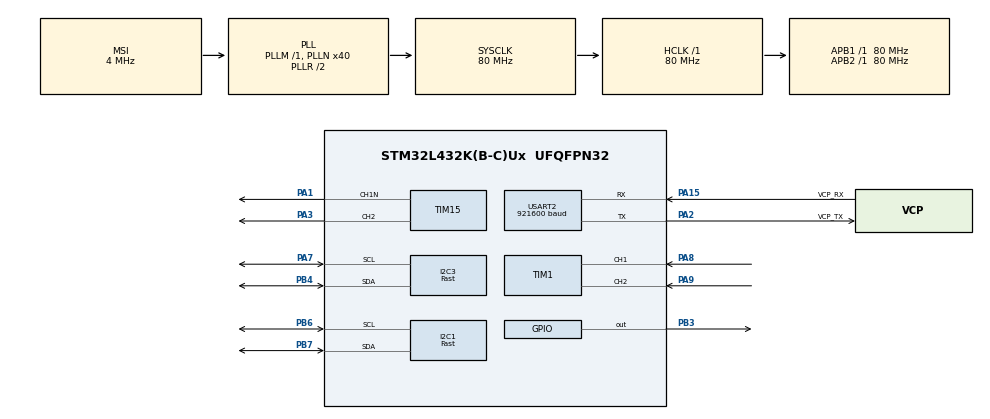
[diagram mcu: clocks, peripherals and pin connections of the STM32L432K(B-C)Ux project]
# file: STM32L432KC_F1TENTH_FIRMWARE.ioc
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Dma.I2C1_RX.2.Direction=DMA_PERIPH_TO_MEMORY
Dma.I2C1_RX.2.Instance=DMA2_Channel6
Dma.I2C1_RX.2.MemDataAlignment=DMA_MDATAALIGN_BYTE
Dma.I2C1_RX.2.MemInc=DMA_MINC_ENABLE
Dma.I2C1_RX.2.Mode=DMA_NORMAL
Dma.I2C1_RX.2.PeriphDataAlignment=DMA_PDATAALIGN_BYTE
Dma.I2C1_RX.2.PeriphInc=DMA_PINC_DISABLE
Dma.I2C1_RX.2.Priority=DMA_PRIORITY_LOW
Dma.I2C1_TX.3.Direction=DMA_MEMORY_TO_PERIPH
Dma.I2C1_TX.3.Instance=DMA2_Channel7
Dma.I2C1_TX.3.MemDataAlignment=DMA_MDATAALIGN_BYTE
Dma.I2C1_TX.3.MemInc=DMA_MINC_ENABLE
Dma.I2C1_TX.3.Mode=DMA_NORMAL
Dma.I2C1_TX.3.PeriphDataAlignment=DMA_PDATAALIGN_BYTE
Dma.I2C1_TX.3.PeriphInc=DMA_PINC_DISABLE
Dma.I2C1_TX.3.Priority=DMA_PRIORITY_LOW
Dma.I2C3_RX.4.Direction=DMA_PERIPH_TO_MEMORY
Dma.I2C3_RX.4.Instance=DMA1_Channel3
Dma.I2C3_RX.4.MemDataAlignment=DMA_MDATAALIGN_BYTE
Dma.I2C3_RX.4.MemInc=DMA_MINC_ENABLE
Dma.I2C3_RX.4.Mode=DMA_NORMAL
Dma.I2C3_RX.4.PeriphDataAlignment=DMA_PDATAALIGN_BYTE
Dma.I2C3_RX.4.PeriphInc=DMA_PINC_DISABLE
Dma.I2C3_RX.4.Priority=DMA_PRIORITY_LOW
Dma.I2C3_TX.5.Direction=DMA_MEMORY_TO_PERIPH
Dma.I2C3_TX.5.Instance=DMA1_Channel2
Dma.I2C3_TX.5.MemDataAlignment=DMA_MDATAALIGN_BYTE
Dma.I2C3_TX.5.MemInc=DMA_MINC_ENABLE
Dma.I2C3_TX.5.Mode=DMA_NORMAL
Dma.I2C3_TX.5.PeriphDataAlignment=DMA_PDATAALIGN_BYTE
Dma.I2C3_TX.5.PeriphInc=DMA_PINC_DISABLE
Dma.I2C3_TX.5.Priority=DMA_PRIORITY_LOW
Dma.Request0=USART2_RX
Dma.Request1=USART2_TX
Dma.Request2=I2C1_RX
Dma.Request3=I2C1_TX
Dma.Request4=I2C3_RX
Dma.Request5=I2C3_TX
Dma.USART2_RX.0.Direction=DMA_PERIPH_TO_MEMORY
Dma.USART2_RX.0.Instance=DMA1_Channel6
Dma.USART2_RX.0.MemDataAlignment=DMA_MDATAALIGN_BYTE
Dma.USART2_RX.0.MemInc=DMA_MINC_ENABLE
Dma.USART2_RX.0.Mode=DMA_CIRCULAR
Dma.USART2_RX.0.PeriphDataAlignment=DMA_PDATAALIGN_BYTE
Dma.USART2_RX.0.PeriphInc=DMA_PINC_DISABLE
Dma.USART2_RX.0.Priority=DMA_PRIORITY_VERY_HIGH
Dma.USART2_TX.1.Direction=DMA_MEMORY_TO_PERIPH
Dma.USART2_TX.1.Instance=DMA1_Channel7
Dma.USART2_TX.1.MemDataAlignment=DMA_MDATAALIGN_BYTE
Dma.USART2_TX.1.MemInc=DMA_MINC_ENABLE
Dma.USART2_TX.1.Mode=DMA_NORMAL
Dma.USART2_TX.1.PeriphDataAlignment=DMA_PDATAALIGN_BYTE
Dma.USART2_TX.1.PeriphInc=DMA_PINC_DISABLE
Dma.USART2_TX.1.Priority=DMA_PRIORITY_VERY_HIGH
FREERTOS.Tasks01=defaultTask,24,4096,StartDefaultTask,As weak,NULL,Static,defaultTaskBuffer,defaultTaskControlBlock
FREERTOS.configENABLE_FPU=1
FREERTOS.configUSE_NEWLIB_REENTRANT=1
I2C1.I2C_Speed_Mode=I2C_Fast
I2C1.Timing=0x00702991
I2C3.I2C_Speed_Mode=I2C_Fast
I2C3.Timing=0x00702991
Mcu.Family=STM32L4
Mcu.Name=STM32L432K(B-C)Ux
Mcu.Package=UFQFPN32
NVIC.DMA1_Channel2_IRQn=true\:5\:0\:false\:false\:true\:true\:false\:true\:true
NVIC.DMA1_Channel3_IRQn=true\:5\:0\:false\:false\:true\:true\:false\:true\:true
NVIC.DMA1_Channel6_IRQn=true\:5\:0\:false\:false\:true\:true\:false\:true\:true
NVIC.DMA1_Channel7_IRQn=true\:5\:0\:false\:false\:true\:true\:false\:true\:true
NVIC.DMA2_Channel6_IRQn=true\:5\:0\:false\:false\:true\:true\:false\:true\:true
NVIC.DMA2_Channel7_IRQn=true\:5\:0\:false\:false\:true\:true\:false\:true\:true
NVIC.I2C1_EV_IRQn=true\:5\:0\:false\:false\:true\:true\:true\:true\:true
NVIC.I2C3_EV_IRQn=true\:5\:0\:false\:false\:true\:true\:true\:true\:true
NVIC.PriorityGroup=NVIC_PRIORITYGROUP_4
NVIC.TIM6_DAC_IRQn=true\:15\:0\:false\:false\:true\:false\:false\:true\:true
NVIC.TimeBase=TIM6_DAC_IRQn
NVIC.TimeBaseIP=TIM6
NVIC.USART2_IRQn=true\:5\:0\:false\:false\:true\:true\:true\:true\:true
PA0.GPIO_Label=MCO [High speed clock in]
PA0.Mode=HSE-External-Clock-Source-for-LittleOrca
PA0.Signal=RCC_CK_IN
PA1.Mode=PWM Generation1 CH1N
PA1.Signal=TIM15_CH1N
PA13\ (JTMS-SWDIO).GPIO_Label=SWDIO
PA13\ (JTMS-SWDIO).Mode=Serial_Wire
PA13\ (JTMS-SWDIO).Signal=SYS_JTMS-SWDIO
PA14\ (JTCK-SWCLK).GPIO_Label=SWCLK
PA14\ (JTCK-SWCLK).Mode=Serial_Wire
PA14\ (JTCK-SWCLK).Signal=SYS_JTCK-SWCLK
PA15\ (JTDI).GPIO_Label=VCP_RX
PA15\ (JTDI).Mode=Asynchronous
PA15\ (JTDI).Signal=USART2_RX
PA2.GPIO_Label=VCP_TX
PA2.Mode=Asynchronous
PA2.Signal=USART2_TX
PA3.Signal=S_TIM15_CH2
PA7.Mode=I2C
PA7.Signal=I2C3_SCL
PA8.GPIO_Speed=GPIO_SPEED_FREQ_HIGH
PA8.Signal=S_TIM1_CH1
PA9.GPIO_Speed=GPIO_SPEED_FREQ_HIGH
PA9.Signal=S_TIM1_CH2
PB3\ (JTDO-TRACESWO).Signal=GPIO_Output
PB4\ (NJTRST).Mode=I2C
PB4\ (NJTRST).Signal=I2C3_SDA
PB6.GPIO_Pu=GPIO_PULLUP
PB6.Mode=I2C
PB6.Signal=I2C1_SCL
PB7.GPIO_Pu=GPIO_PULLUP
PB7.Mode=I2C
PB7.Signal=I2C1_SDA
PC14-OSC32_IN\ (PC14).Mode=LSE-External-Oscillator
PC14-OSC32_IN\ (PC14).Signal=RCC_OSC32_IN
PC15-OSC32_OUT\ (PC15).Mode=LSE-External-Oscillator
PC15-OSC32_OUT\ (PC15).Signal=RCC_OSC32_OUT
ProjectManager.HeapSize=0x200
ProjectManager.StackSize=0x400
ProjectManager.TargetToolchain=STM32CubeIDE
RCC.AHBFreq_Value=80000000
RCC.APB1Freq_Value=80000000
RCC.APB1TimFreq_Value=80000000
RCC.APB2Freq_Value=80000000
RCC.APB2TimFreq_Value=80000000
RCC.CortexFreq_Value=80000000
RCC.HCLKFreq_Value=80000000
RCC.HSE_VALUE=8000000
RCC.HSI16_VALUE=16000000
RCC.HSI48_VALUE=48000000
RCC.HSI_VALUE=16000000
RCC.MSI_VALUE=4000000
RCC.PLLMUL=RCC_PLLMUL_4
RCC.PLLN=40
RCC.SYSCLKFreq_VALUE=80000000
RCC.SYSCLKSource=RCC_SYSCLKSOURCE_PLLCLK
RCC.VCOOutputFreq_Value=160000000
SH.S_TIM15_CH2.0=TIM15_CH2,PWM Generation2 CH2
SH.S_TIM1_CH1.0=TIM1_CH1,Encoder_Interface
SH.S_TIM1_CH2.0=TIM1_CH2,Encoder_Interface
TIM1.EncoderMode=TIM_ENCODERMODE_TI12
TIM15.Channel-PWM\ Generation1\ CH1N=TIM_CHANNEL_1
TIM15.Channel-PWM\ Generation2\ CH2=TIM_CHANNEL_2
USART2.BaudRate=921600
USART2.VirtualMode-Asynchronous=VM_ASYNC
VP_FREERTOS_VS_CMSIS_V2.Mode=CMSIS_V2
VP_SYS_VS_tim6.Mode=TIM6
board=NUCLEO-L432KC

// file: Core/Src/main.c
/* USER CODE BEGIN Header */
/**
 ******************************************************************************
 * @file           : main.c
 * @brief          : Main program body
 ******************************************************************************
 * @attention
 *
 * Copyright (c) 2024 STMicroelectronics.
 * All rights reserved.
 *
 * This software is licensed under terms that can be found in the LICENSE file
 * in the root directory of this software component.
 * If no LICENSE file comes with this software, it is provided AS-IS.
 *
 ******************************************************************************
 */
/* USER CODE END Header */
#include "main.h"
#include "cmsis_os.h"
#include "dma.h"
#include "i2c.h"
#include "tim.h"
#include "usart.h"
#include "gpio.h"

/* USER CODE BEGIN Includes */
#include "AS5600.h"
#include "BNO055.h"
#include "RC.h"
#include "Mobile_Config.h"
#include "stdbool.h"
#include "math.h"
#include "PAA5160E1.h"
/* USER CODE END Includes */

/* USER CODE BEGIN PTD */
typedef enum {
	forward,
	backward_1,
	backward_2,
	brake
} direction_state;

typedef struct {
	int16_t prev_counter;
	double gain;
	double unwrap_pos;
	double pos;
}encoder_counter;
/* USER CODE END PTD */

/* USER CODE BEGIN PD */
#define SENSOR_ON
/* USER CODE END PD */

/* USER CODE BEGIN PM */
#define HALCHECK(fn) while(fn != HAL_OK) HAL_Delay(100);
#define RCCHECK(fn) { rcl_ret_t temp_rc = fn; if((temp_rc != RCL_RET_OK)){Error_Handler()}}
#define RCSOFTCHECK(fn) { rcl_ret_t temp_rc = fn; if((temp_rc != RCL_RET_OK)){}}
#define KP 0.1
#define KI 0.02
#define KD 0
/* USER CODE END PM */

/* USER CODE BEGIN PV */
float servo_cmd = 0;
float bldc_cmd = 0;
direction_state state = brake;
encoder_counter enc = {
		.prev_counter = 0.0,
		.gain = M_PI_2,
		.unwrap_pos = 0.0,
		.pos = 0.0
};
/* USER CODE END PV */

void SystemClock_Config(void);
void MX_FREERTOS_Init(void);
/* USER CODE BEGIN PFP */
bool cubemx_transport_open(struct uxrCustomTransport * transport);
bool cubemx_transport_close(struct uxrCustomTransport * transport);
size_t cubemx_transport_write(struct uxrCustomTransport* transport, const uint8_t * buf, size_t len, uint8_t * err);
size_t cubemx_transport_read(struct uxrCustomTransport* transport, uint8_t* buf, size_t len, int timeout, uint8_t* err);

void * microros_allocate(size_t size, void * state);
void microros_deallocate(void * pointer, void * state);
void * microros_reallocate(void * pointer, size_t size, void * state);
void * microros_zero_allocate(size_t number_of_elements, size_t size_of_element, void * state);

void enc_timer_callback(rcl_timer_t * timer, int64_t last_call_time);
void imu_timer_callback(rcl_timer_t * timer, int64_t last_call_time);
void opticalOdom_timer_callback(rcl_timer_t * timer, int64_t last_call_time);
void subscription_callback(const void * msgin);

float ang2rc(float ang);
/* USER CODE END PFP */

/* USER CODE BEGIN 0 */
void enc_timer_callback(rcl_timer_t * timer, int64_t last_call_time)
{
	static bool isfirst_callback = true;
	RCLC_UNUSED(last_call_time);
	if (timer != NULL)
	{

#ifdef SENSOR_ON

		int16_t counter = __HAL_TIM_GET_COUNTER(&htim1);
		int32_t delta_counter = counter - enc.prev_counter;
		enc.prev_counter = counter;

		if (delta_counter < -32768) enc.pos += (65535.0 * enc.gain);
		else if (delta_counter > 32768) enc.pos -= (65535.0 * enc.gain);

		float speed = ((counter * enc.gain) + enc.pos - enc.unwrap_pos) * 50.0;
		enc.unwrap_pos = (counter * enc.gain) + enc.pos;

		float error = bldc_cmd - speed;
		float u = 0;

		switch (state)
		{
		case forward:
			if (bldc_cmd > 0) u = PID_CONTROLLER_Compute(&pid, error);
			else {
				u = 0;
				state = brake;
			}
			HAL_GPIO_WritePin(GPIOB, GPIO_PIN_3, 0);
			break;
		case brake:
			pid.ek_1=0;
			pid.ek_2=0;
			pid.u=0;
			u = PID_CONTROLLER_Compute(&pid, error);
			if (bldc_cmd > 0) state = forward;
			else if (bldc_cmd < 0) {
				state = backward_1;
				u = -500;
			}
			break;
		case backward_1:
			pid.ek_1=0;
			pid.ek_2=0;
			pid.u=0;
			u = 0;
			if (bldc_cmd < 0) state = backward_2;
			else state = brake;
			HAL_GPIO_WritePin(GPIOB, GPIO_PIN_3, 1);
			break;
		case backward_2:
			if (bldc_cmd < 0) u = PID_CONTROLLER_Compute(&pid, error);
			else {
				u = 0;
				state = brake;
			}
			HAL_GPIO_WritePin(GPIOB, GPIO_PIN_3, 0);
			break;
		}

		enc_msg.data.data[0] = enc.unwrap_pos;

		if (u < 0 && (state == forward || state == brake)) {
			u = 0;
			pid.u=0;
		}
		else if (u > 0 && (state == backward_1 || state == backward_2)) {
			u = 0;
			pid.u=0;
		}

		RC_Write(&bldc, 1500 + u);
		RC_Write(&servo, ang2rc(servo_cmd));

		enc_msg.data.data[1] = speed;
#endif
		if (!isfirst_callback) RCSOFTCHECK(rcl_publish(&enc_publisher, &enc_msg, NULL))
		else isfirst_callback = !isfirst_callback;
	}
}

void imu_timer_callback(rcl_timer_t * timer, int64_t last_call_time)
{
	static bool isfirst_callback = true;
	RCLC_UNUSED(last_call_time);
	if (timer != NULL)
	{
#ifdef SENSOR_ON
		if (bno.flag == HAL_OK)
		{
			BNO055_Read_DMA(&bno, 0);
			bno.flag = HAL_BUSY;
		}
		imu_msg.data.data[0] = bno.gyro.x;
		imu_msg.data.data[1] = bno.gyro.y;
		imu_msg.data.data[2] = bno.gyro.z;
		imu_msg.data.data[3] = bno.accel.x;
		imu_msg.data.data[4] = bno.accel.y;
		imu_msg.data.data[5] = bno.accel.z;
		imu_msg.data.data[6] = bno.quat.x;
		imu_msg.data.data[7] = bno.quat.y;
		imu_msg.data.data[8] = bno.quat.z;
		imu_msg.data.data[9] = bno.quat.w;
#endif
		if (!isfirst_callback) RCSOFTCHECK(rcl_publish(&imu_publisher, &imu_msg, NULL))
				else isfirst_callback = !isfirst_callback;
	}
}

void opticalOdom_timer_callback(rcl_timer_t * timer, int64_t last_call_time)
{
	static bool isfirst_callback = true;
	RCLC_UNUSED(last_call_time);
	if (timer != NULL)
	{
#ifdef SENSOR_ON
		if (paa.flag == HAL_OK)
		{
			PAA5160E1_getPosVelAccAndStdDev_DMA(&paa);
			paa.flag = HAL_BUSY;
		}
		opticalOdom_msg.data.data[0] = paa.pos.x;
		opticalOdom_msg.data.data[1] = paa.pos.y;
		opticalOdom_msg.data.data[2] = paa.pos.h;
		opticalOdom_msg.data.data[3] = paa.posStdDev.x;
		opticalOdom_msg.data.data[4] = paa.posStdDev.y;
		opticalOdom_msg.data.data[5] = paa.posStdDev.h;
		opticalOdom_msg.data.data[6] = paa.vel.x;
		opticalOdom_msg.data.data[7] = paa.vel.y;
		opticalOdom_msg.data.data[8] = paa.vel.h;
		opticalOdom_msg.data.data[9] = paa.velStdDev.x;
		opticalOdom_msg.data.data[10] = paa.velStdDev.y;
		opticalOdom_msg.data.data[11] = paa.velStdDev.h;
#endif
		if (!isfirst_callback) RCSOFTCHECK(rcl_publish(&opticalOdom_publisher, &opticalOdom_msg, NULL))
		else isfirst_callback = !isfirst_callback;
	}
}

void subscription_callback(const void * msgin)
{
	const std_msgs__msg__Float64MultiArray *cmd_msg = (const std_msgs__msg__Float64MultiArray *)msgin;

	servo_cmd = cmd_msg->data.data[0];
	bldc_cmd = cmd_msg->data.data[1];
}

void StartDefaultTask(void *argument)
{
	rmw_uros_set_custom_transport(
			true,
			(void *) &huart2,
			cubemx_transport_open,
			cubemx_transport_close,
			cubemx_transport_write,
			cubemx_transport_read);

	rcl_allocator_t freeRTOS_allocator = rcutils_get_zero_initialized_allocator();
	freeRTOS_allocator.allocate = microros_allocate;
	freeRTOS_allocator.deallocate = microros_deallocate;
	freeRTOS_allocator.reallocate = microros_reallocate;
	freeRTOS_allocator.zero_allocate =  microros_zero_allocate;
	if (!rcutils_set_default_allocator(&freeRTOS_allocator)) printf("Error on default allocators (line %d)\n", __LINE__);

	allocator = rcl_get_default_allocator();
	rclc_support_init(&support, 0, NULL, &allocator);
	rclc_node_init_default(&node, "mcu_node", "", &support);

	rclc_publisher_init_default(
			&enc_publisher,
			&node,
			ROSIDL_GET_MSG_TYPE_SUPPORT(std_msgs, msg, Float64MultiArray),
			"enc_raw");
	rclc_publisher_init_default(
			&imu_publisher,
			&node,
			ROSIDL_GET_MSG_TYPE_SUPPORT(std_msgs, msg, Float64MultiArray),
			"imu_raw");
	rclc_publisher_init_default(
			&opticalOdom_publisher,
			&node,
			ROSIDL_GET_MSG_TYPE_SUPPORT(std_msgs, msg, Float64MultiArray),
			"opticalOdom_raw");

	rclc_subscription_init_default(
			&cmd_subscription,
			&node,
			ROSIDL_GET_MSG_TYPE_SUPPORT(std_msgs, msg, Float64MultiArray),
			"mcu_cmd");

	rclc_timer_init_default(
			&enc_timer,
			&support,
			RCL_MS_TO_NS(20),
			enc_timer_callback);

	rclc_timer_init_default(
			&imu_timer,
			&support,
			RCL_MS_TO_NS(10),
			imu_timer_callback);

	rclc_timer_init_default(
			&opticalOdom_timer,
			&support,
			RCL_MS_TO_NS(10),
			opticalOdom_timer_callback);

	enc_msg.data.capacity = 2;
	enc_msg.data.data = (double*) malloc(enc_msg.data.capacity * sizeof(double));
	enc_msg.data.size = 2;

	imu_msg.data.capacity = 10;
	imu_msg.data.data = (double*) malloc(imu_msg.data.capacity * sizeof(double));
	imu_msg.data.size = 10;

	opticalOdom_msg.data.capacity = 12;
	opticalOdom_msg.data.data = (double*) malloc(opticalOdom_msg.data.capacity * sizeof(double));
	opticalOdom_msg.data.size = 12;

	cmd_msg.data.capacity = 2;
	cmd_msg.data.data = (double*) malloc(cmd_msg.data.capacity * sizeof(double));
	cmd_msg.data.size = 2;

	rclc_executor_init(&executor, &support.context, 4, &allocator);
	rclc_executor_add_subscription(&executor, &cmd_subscription, &cmd_msg, &subscription_callback, ON_NEW_DATA);
	rclc_executor_add_timer(&executor, &enc_timer);
	rclc_executor_add_timer(&executor, &imu_timer);
	rclc_executor_add_timer(&executor, &opticalOdom_timer);
	rclc_executor_spin(&executor);

	while(1)
	{
		rclc_executor_spin_some(&executor, RCL_MS_TO_NS(1));
	}
}
/* USER CODE END 0 */

int main(void)
{

	/* MCU Configuration--------------------------------------------------------*/

	/* Reset of all peripherals, Initializes the Flash interface and the Systick. */
	HAL_Init();

	/* Configure the system clock */
	SystemClock_Config();

	/* Initialize all configured peripherals */
	MX_GPIO_Init();
	MX_DMA_Init();
	MX_USART2_UART_Init();
	MX_TIM1_Init();
	MX_TIM15_Init();
	MX_I2C1_Init();
	MX_I2C3_Init();
	/* USER CODE BEGIN 2 */
#ifdef SENSOR_ON
	HALCHECK(BNO055_Init(&bno, &hi2c1, 0, NDOF))
	PAA5160E1_Init(&paa, &hi2c3);
	PAA5160E1_calibrateImu(&paa, 255, 1);
#ifdef BNO_CALIB_ON
	BNO055_Calibrated(&bno, &bno_stat, &bno_off);
#endif
	BNO055_SetOffsets(&bno, &bno_off);
	BNO055_SetAxis(&bno, P0_Config, P0_Sign);
	resetTracking(&paa);
	paa.pos.x = 0.0;
	paa.pos.y = 0.0;
	paa.pos.h = 0.0;
	PAA5160E1_setPosition(&paa);
	HALCHECK(RC_Init(&servo, &htim15, TIM_CHANNEL_1, CPU_FREQ, true))
	HALCHECK(RC_Init(&bldc, &htim15, TIM_CHANNEL_2, CPU_FREQ, false))
	RC_Set_Input_Range(&servo, 500, 2500);
	RC_Set_Input_Range(&bldc, 500, 2500);
	PID_CONTROLLER_Init(&pid, KP, KI, KD, 500);
	HAL_TIM_Encoder_Start(&htim1, TIM_CHANNEL_ALL);
#endif
	/* USER CODE END 2 */

	/* Init scheduler */
	osKernelInitialize();

	/* Call init function for freertos objects (in cmsis_os2.c) */
	MX_FREERTOS_Init();

	/* Start scheduler */
	osKernelStart();

	/* We should never get here as control is now taken by the scheduler */

	/* Infinite loop */
	while (1)
	{

	}
}

void SystemClock_Config(void)
{
	RCC_OscInitTypeDef RCC_OscInitStruct = {0};
	RCC_ClkInitTypeDef RCC_ClkInitStruct = {0};

	/** Configure the main internal regulator output voltage
	 */
	if (HAL_PWREx_ControlVoltageScaling(PWR_REGULATOR_VOLTAGE_SCALE1) != HAL_OK)
	{
		Error_Handler();
	}

	/** Configure LSE Drive Capability
	 */
	HAL_PWR_EnableBkUpAccess();
	__HAL_RCC_LSEDRIVE_CONFIG(RCC_LSEDRIVE_LOW);

	/** Initializes the RCC Oscillators according to the specified parameters
	 * in the RCC_OscInitTypeDef structure.
	 */
	RCC_OscInitStruct.OscillatorType = RCC_OSCILLATORTYPE_LSE|RCC_OSCILLATORTYPE_MSI;
	RCC_OscInitStruct.LSEState = RCC_LSE_ON;
	RCC_OscInitStruct.MSIState = RCC_MSI_ON;
	RCC_OscInitStruct.MSICalibrationValue = 0;
	RCC_OscInitStruct.MSIClockRange = RCC_MSIRANGE_6;
	RCC_OscInitStruct.PLL.PLLState = RCC_PLL_ON;
	RCC_OscInitStruct.PLL.PLLSource = RCC_PLLSOURCE_MSI;
	RCC_OscInitStruct.PLL.PLLM = 1;
	RCC_OscInitStruct.PLL.PLLN = 40;
	RCC_OscInitStruct.PLL.PLLP = RCC_PLLP_DIV7;
	RCC_OscInitStruct.PLL.PLLQ = RCC_PLLQ_DIV2;
	RCC_OscInitStruct.PLL.PLLR = RCC_PLLR_DIV2;
	if (HAL_RCC_OscConfig(&RCC_OscInitStruct) != HAL_OK)
	{
		Error_Handler();
	}

	/** Initializes the CPU, AHB and APB buses clocks
	 */
	RCC_ClkInitStruct.ClockType = RCC_CLOCKTYPE_HCLK|RCC_CLOCKTYPE_SYSCLK
			|RCC_CLOCKTYPE_PCLK1|RCC_CLOCKTYPE_PCLK2;
	RCC_ClkInitStruct.SYSCLKSource = RCC_SYSCLKSOURCE_PLLCLK;
	RCC_ClkInitStruct.AHBCLKDivider = RCC_SYSCLK_DIV1;
	RCC_ClkInitStruct.APB1CLKDivider = RCC_HCLK_DIV1;
	RCC_ClkInitStruct.APB2CLKDivider = RCC_HCLK_DIV1;

	if (HAL_RCC_ClockConfig(&RCC_ClkInitStruct, FLASH_LATENCY_4) != HAL_OK)
	{
		Error_Handler();
	}

	/** Enable MSI Auto calibration
	 */
	HAL_RCCEx_EnableMSIPLLMode();
}

/* USER CODE BEGIN 4 */
void HAL_I2C_MemRxCpltCallback(I2C_HandleTypeDef *hi2c)
{
	if (hi2c->Instance == bno.hi2cx->Instance) bno.flag = HAL_OK;
	if (hi2c->Instance == paa.hi2cx->Instance) paa.flag = HAL_OK;
}

float ang2rc(float ang)
{
	float rc_signal = 1350;
	rc_signal += ang * 1000.0 / M_PI_2;
	rc_signal = fmaxf(fminf(rc_signal, 1794), -905);
	return rc_signal;
}
/* USER CODE END 4 */

void HAL_TIM_PeriodElapsedCallback(TIM_HandleTypeDef *htim)
{
	if (htim->Instance == TIM6) {
		HAL_IncTick();
	}
}

void Error_Handler(void)
{
	__disable_irq();
	while (1)
	{
	}
}

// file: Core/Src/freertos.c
/* USER CODE BEGIN Header */
/**
  ******************************************************************************
  * File Name          : freertos.c
  * Description        : Code for freertos applications
  ******************************************************************************
  * @attention
  *
  * Copyright (c) 2024 STMicroelectronics.
  * All rights reserved.
  *
  * This software is licensed under terms that can be found in the LICENSE file
  * in the root directory of this software component.
  * If no LICENSE file comes with this software, it is provided AS-IS.
  *
  ******************************************************************************
  */
/* USER CODE END Header */

#include "FreeRTOS.h"
#include "task.h"
#include "main.h"
#include "cmsis_os.h"

typedef StaticTask_t osStaticThreadDef_t;

/* Definitions for defaultTask */
osThreadId_t defaultTaskHandle;
uint32_t defaultTaskBuffer[ 4096 ];
osStaticThreadDef_t defaultTaskControlBlock;
const osThreadAttr_t defaultTask_attributes = {
  .name = "defaultTask",
  .cb_mem = &defaultTaskControlBlock,
  .cb_size = sizeof(defaultTaskControlBlock),
  .stack_mem = &defaultTaskBuffer[0],
  .stack_size = sizeof(defaultTaskBuffer),
  .priority = (osPriority_t) osPriorityNormal,
};

void StartDefaultTask(void *argument);

void MX_FREERTOS_Init(void); /* (MISRA C 2004 rule 8.1) */

void MX_FREERTOS_Init(void) {

  /* Create the thread(s) */
  /* creation of defaultTask */
  defaultTaskHandle = osThreadNew(StartDefaultTask, NULL, &defaultTask_attributes);

}

__weak void StartDefaultTask(void *argument)
{
  for(;;)
  {
    osDelay(1);
  }
}
